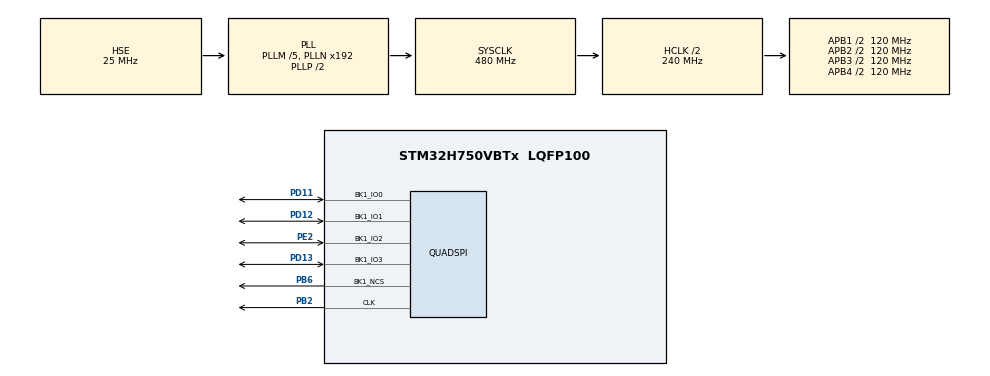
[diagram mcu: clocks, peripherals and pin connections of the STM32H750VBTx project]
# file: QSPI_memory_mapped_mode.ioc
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CORTEX_M7.CPU_DCache=Enabled
CORTEX_M7.CPU_ICache=Enabled
Mcu.Family=STM32H7
Mcu.Name=STM32H750VBTx
Mcu.Package=LQFP100
NVIC.PriorityGroup=NVIC_PRIORITYGROUP_4
PA13\ (JTMS/SWDIO).Mode=Serial_Wire
PA13\ (JTMS/SWDIO).Signal=DEBUG_JTMS-SWDIO
PA14\ (JTCK/SWCLK).Mode=Serial_Wire
PA14\ (JTCK/SWCLK).Signal=DEBUG_JTCK-SWCLK
PB2.GPIO_Speed=GPIO_SPEED_FREQ_VERY_HIGH
PB2.Mode=Single Bank 1
PB2.Signal=QUADSPI_CLK
PB6.GPIO_Speed=GPIO_SPEED_FREQ_VERY_HIGH
PB6.Mode=Single Bank 1
PB6.Signal=QUADSPI_BK1_NCS
PD11.GPIO_Speed=GPIO_SPEED_FREQ_VERY_HIGH
PD11.Mode=Single Bank 1
PD11.Signal=QUADSPI_BK1_IO0
PD12.GPIO_Speed=GPIO_SPEED_FREQ_VERY_HIGH
PD12.Mode=Single Bank 1
PD12.Signal=QUADSPI_BK1_IO1
PD13.GPIO_Speed=GPIO_SPEED_FREQ_VERY_HIGH
PD13.Mode=Single Bank 1
PD13.Signal=QUADSPI_BK1_IO3
PE2.GPIO_Speed=GPIO_SPEED_FREQ_VERY_HIGH
PE2.Mode=Single Bank 1
PE2.Signal=QUADSPI_BK1_IO2
PH0-OSC_IN\ (PH0).Mode=HSE-External-Oscillator
PH0-OSC_IN\ (PH0).Signal=RCC_OSC_IN
PH1-OSC_OUT\ (PH1).Mode=HSE-External-Oscillator
PH1-OSC_OUT\ (PH1).Signal=RCC_OSC_OUT
ProjectManager.HeapSize=0x200
ProjectManager.StackSize=0x400
ProjectManager.TargetToolchain=STM32CubeIDE
QUADSPI.ChipSelectHighTime=QSPI_CS_HIGH_TIME_5_CYCLE
QUADSPI.ClockPrescaler=4-1
QUADSPI.FifoThreshold=4
QUADSPI.FlashSize=22
QUADSPI.SampleShifting=QSPI_SAMPLE_SHIFTING_HALFCYCLE
RCC.ADCFreq_Value=50390625
RCC.APB1Freq_Value=120000000
RCC.APB2Freq_Value=120000000
RCC.APB3Freq_Value=120000000
RCC.APB4Freq_Value=120000000
RCC.CortexFreq_Value=480000000
RCC.D1PPRE=RCC_APB3_DIV2
RCC.D2PPRE1=RCC_APB1_DIV2
RCC.D2PPRE2=RCC_APB2_DIV2
RCC.D3PPRE=RCC_APB4_DIV2
RCC.DIVM1=5
RCC.DIVN1=192
RCC.HCLKFreq_Value=240000000
RCC.HPRE=RCC_HCLK_DIV2
RCC.PLLSourceVirtual=RCC_PLLSOURCE_HSE
RCC.SYSCLKFreq_VALUE=480000000
RCC.SYSCLKSource=RCC_SYSCLKSOURCE_PLLCLK
RCC.USBFreq_Value=480000000
board=custom

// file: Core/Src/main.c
/* USER CODE BEGIN Header */
/**
  ******************************************************************************
  * @file           : main.c
  * @brief          : Main program body
  ******************************************************************************
  * @attention
  *
  * Copyright (c) 2022 STMicroelectronics.
  * All rights reserved.
  *
  * This software is licensed under terms that can be found in the LICENSE file
  * in the root directory of this software component.
  * If no LICENSE file comes with this software, it is provided AS-IS.
  *
  ******************************************************************************
  */
/* USER CODE END Header */
#include "main.h"
#include "quadspi.h"
#include "gpio.h"

/* USER CODE BEGIN Includes */
// workspace_1.10.0
#include "w25qxx_qspi.h"
#include "stdio.h"
#include "string.h"
/* USER CODE END Includes */

/* USER CODE BEGIN PD */
	char str[50] = {0};
		uint16_t t;
	const uint8_t TEXT_Buffer[]={"Hello world from QSPI, MEMORY MAPPED MODE!"};
	const uint8_t TEXT_Buffer2[]={"VARSA SEKLINIZ CIKISA BEKLERIZ :D ."};
	#define SIZE sizeof(TEXT_Buffer)
	#define SIZE2 sizeof(TEXT_Buffer2)
	uint32_t idd=0;
/* USER CODE END PD */

void SystemClock_Config(void);

/* USER CODE BEGIN 0 */
uint32_t i=0;

/******************* Jump function *********************/
typedef void (*pFunction)(void);
pFunction JumpToApplication;
#define APPLICATION_ADDRESS 0x90000000
/*******************************************************/
/* USER CODE END 0 */

int main(void)
{
  /* USER CODE BEGIN 1 */
	//uint8_t datatemp[SIZE+SIZE2+1];
  /* USER CODE END 1 */

  /* Enable I-Cache---------------------------------------------------------*/
  SCB_EnableICache();

  /* Enable D-Cache---------------------------------------------------------*/
  SCB_EnableDCache();

  /* MCU Configuration--------------------------------------------------------*/

  /* Reset of all peripherals, Initializes the Flash interface and the Systick. */
  HAL_Init();

  /* Configure the system clock */
  SystemClock_Config();

  /* Initialize all configured peripherals */
  MX_GPIO_Init();
  MX_QUADSPI_Init();
  /* USER CODE BEGIN 2 */

  w25qxx_Init();
  w25qxx_GetID();
  //W25qxx_EraseChip(); // approx 13 second to execute
  W25qxx_Write((uint8_t*)TEXT_Buffer, 0, SIZE);
  W25qxx_Write((uint8_t*)TEXT_Buffer2, SIZE, SIZE2);
  //W25qxx_Read(datatemp, 0, SIZE+SIZE2);

  /* Configure the memory mapped mode */
  w25qxx_Startup(w25qxx_QPIMode);

  //memcpy(TEXT_Buffer,(uint8_t*) 0x90000000, 40);

	/* Disable CPU Cache before jumping to the QSPI code execution */
    SCB_DisableDCache();
    SCB_DisableICache();
	/* Disable Systick interrupt */
	SysTick->CTRL = 0;

	/* Initialize user application's Stack Pointer & Jump to user application */
	JumpToApplication = (pFunction)(*(__IO uint32_t*) (APPLICATION_ADDRESS + 4));
	__set_MSP(*(__IO uint32_t*) APPLICATION_ADDRESS);
	JumpToApplication();

/*
for ( i=0;i<8192;i++)
{
	W25qxx_Write((uint8_t*)"\0", i, 1);   //full chip write

}
*/
  /* USER CODE END 2 */

  /* Infinite loop */
  while (1)
  {

  }
}

void SystemClock_Config(void)
{
  RCC_OscInitTypeDef RCC_OscInitStruct = {0};
  RCC_ClkInitTypeDef RCC_ClkInitStruct = {0};

  /** Supply configuration update enable
  */
  HAL_PWREx_ConfigSupply(PWR_LDO_SUPPLY);

  /** Configure the main internal regulator output voltage
  */
  __HAL_PWR_VOLTAGESCALING_CONFIG(PWR_REGULATOR_VOLTAGE_SCALE1);

  while(!__HAL_PWR_GET_FLAG(PWR_FLAG_VOSRDY)) {}

  __HAL_RCC_SYSCFG_CLK_ENABLE();
  __HAL_PWR_VOLTAGESCALING_CONFIG(PWR_REGULATOR_VOLTAGE_SCALE0);

  while(!__HAL_PWR_GET_FLAG(PWR_FLAG_VOSRDY)) {}

  /** Initializes the RCC Oscillators according to the specified parameters
  * in the RCC_OscInitTypeDef structure.
  */
  RCC_OscInitStruct.OscillatorType = RCC_OSCILLATORTYPE_HSE;
  RCC_OscInitStruct.HSEState = RCC_HSE_ON;
  RCC_OscInitStruct.PLL.PLLState = RCC_PLL_ON;
  RCC_OscInitStruct.PLL.PLLSource = RCC_PLLSOURCE_HSE;
  RCC_OscInitStruct.PLL.PLLM = 5;
  RCC_OscInitStruct.PLL.PLLN = 192;
  RCC_OscInitStruct.PLL.PLLP = 2;
  RCC_OscInitStruct.PLL.PLLQ = 2;
  RCC_OscInitStruct.PLL.PLLR = 2;
  RCC_OscInitStruct.PLL.PLLRGE = RCC_PLL1VCIRANGE_2;
  RCC_OscInitStruct.PLL.PLLVCOSEL = RCC_PLL1VCOWIDE;
  RCC_OscInitStruct.PLL.PLLFRACN = 0;
  if (HAL_RCC_OscConfig(&RCC_OscInitStruct) != HAL_OK)
  {
    Error_Handler();
  }

  /** Initializes the CPU, AHB and APB buses clocks
  */
  RCC_ClkInitStruct.ClockType = RCC_CLOCKTYPE_HCLK|RCC_CLOCKTYPE_SYSCLK
                              |RCC_CLOCKTYPE_PCLK1|RCC_CLOCKTYPE_PCLK2
                              |RCC_CLOCKTYPE_D3PCLK1|RCC_CLOCKTYPE_D1PCLK1;
  RCC_ClkInitStruct.SYSCLKSource = RCC_SYSCLKSOURCE_PLLCLK;
  RCC_ClkInitStruct.SYSCLKDivider = RCC_SYSCLK_DIV1;
  RCC_ClkInitStruct.AHBCLKDivider = RCC_HCLK_DIV2;
  RCC_ClkInitStruct.APB3CLKDivider = RCC_APB3_DIV2;
  RCC_ClkInitStruct.APB1CLKDivider = RCC_APB1_DIV2;
  RCC_ClkInitStruct.APB2CLKDivider = RCC_APB2_DIV2;
  RCC_ClkInitStruct.APB4CLKDivider = RCC_APB4_DIV2;

  if (HAL_RCC_ClockConfig(&RCC_ClkInitStruct, FLASH_LATENCY_4) != HAL_OK)
  {
    Error_Handler();
  }
}

void Error_Handler(void)
{
  __disable_irq();
  while (1)
  {
  }
}
